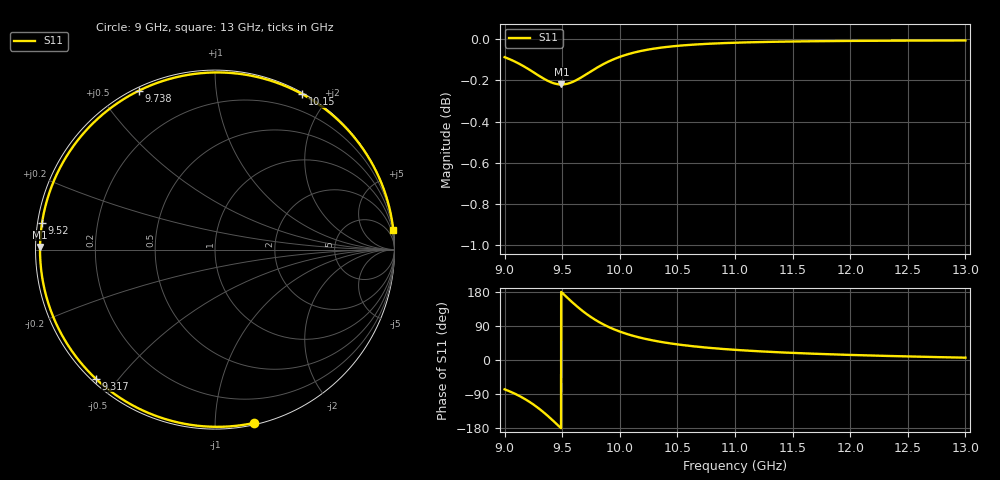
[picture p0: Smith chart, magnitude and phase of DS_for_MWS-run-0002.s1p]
! TOUCHSTONE file generated by CST DESIGN STUDIO
! Date and time: Tue Feb  4 17:11:01 2025
! Project name: C:\Work\MatlabApps\UnitCellOptimizationMatlab\CST\unitcell.cst
! Tree item: Tasks\Sweep1\SPara1\S-Parameters
! Header version: 2024
! Port assignment regex: !\s*Touchstone port\s*([0-9]+)\s*=\s*(CST MWS port|CST DES external port|CST DES block port)\s*(.+)\s* \(\"(.*)\"\)(\s*mode\s*([0-9]+))?.*
! Touchstone port assignment:
! Touchstone port 1 = CST DES external port 1 ("")
# GHz S MA R 50
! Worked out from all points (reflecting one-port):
!   4001 points, 9 GHz to 13 GHz, reference 50 ohm
!   lowest |S11| = -0.2 dB at 9.493 GHz (marker M1), VSWR 79.13, Z = 0.632 + j0.377 ohm
!   phase of S11 starts at -77 deg and turns -276 deg over the sweep
!   S11 on the Smith chart (normalised r, x): 9 GHz: 0.01, -1.25; 9.317 GHz: 0.01, -0.44; 9.52 GHz: 0.01, +0.08; 9.738 GHz: 0.01, +0.63; 10.15 GHz: 0.01, +1.71; 13 GHz: 0, +19
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9  0.9901 -77.4
9.081  0.9879 -87.8
9.181  0.9845 -103.9
9.252  0.9817 -117.9
9.317  0.9791 -132.7
9.364  0.9774 -144.7
9.413  0.976 -158.0
9.454  0.9753 -169.6
9.493  0.975 179.1
9.5  0.975 177.1
9.52  0.9752 171.3
9.573  0.976 156.3
9.633  0.9777 140.2
9.685  0.9797 127.5
9.738  0.9818 115.7
9.792  0.9839 105.1
9.851  0.986 94.9
9.925  0.9883 84.1
10  0.9902 75.0
10.154  0.9931 60.7
10.311  0.9949 50.3
10.5  0.9963 41.2
10.722  0.9974 33.6
11  0.9981 26.8
11.5  0.9988 18.8
12  0.9991 13.4
12.5  0.9993 9.4
13  0.9994 6.1
